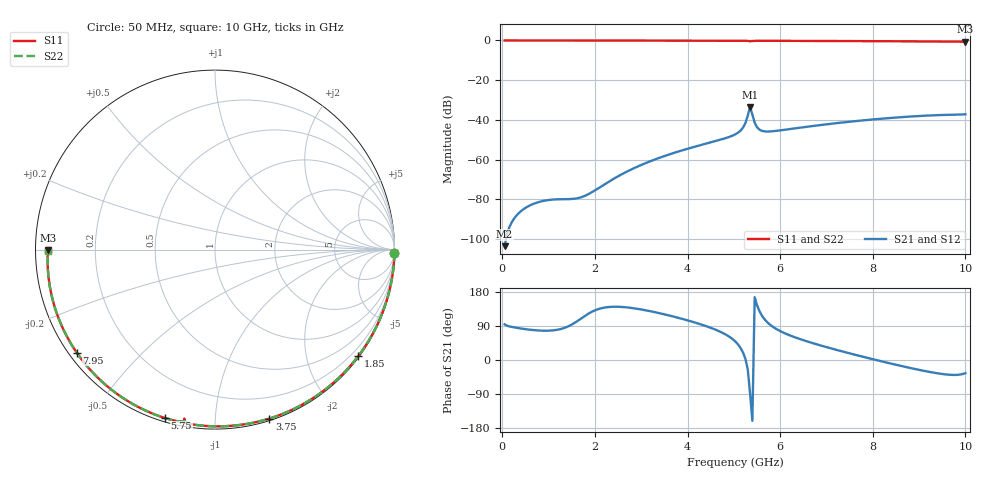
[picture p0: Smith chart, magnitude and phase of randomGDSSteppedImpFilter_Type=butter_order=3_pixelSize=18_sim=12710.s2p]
! freq	dB(S11)	phase(S11)	dB(S12)	phase(S12)
!  dB(S21)	phase(S21)	dB(S22)	phase(S22)
!S-par simulation data
#  GHz  S  DB  R 50
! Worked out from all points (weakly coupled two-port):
!   200 points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, 50 MHz to 10 GHz, reference 50 ohm
!   highest |S21| = -33.55 dB at 5.35 GHz (marker M1); lowest = -103.5 dB at 50 MHz (marker M2)
!   lowest |S11| = -0.6 dB at 10 GHz (marker M3), VSWR 27.58, Z = 1.81 - j0.0735 ohm
!   |S11| at or under -10 dB: nowhere
!   |S22| runs from -0.6 to 0.0 dB; largest |S21 - S12| = 0
!   S11 on the Smith chart (normalised r, x): 50 MHz: open; 1.85 GHz: 0.03, -3.02; 3.75 GHz: 0.02, -1.37; 5.75 GHz: 0.02, -0.75; 7.95 GHz: 0.02, -0.33; 10 GHz: 0.04, -0.00
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0.05  -0.00 -1.0  -103.54 94.1  -103.54 94.1  -0.00 -1.0
0.75  -0.02 -15.1  -81.59 78.1  -81.59 78.1  -0.02 -15.1
1.45  -0.04 -28.9  -79.84 90.3  -79.84 90.3  -0.04 -28.9
1.75  -0.04 -34.7  -78.53 113.5  -78.53 113.5  -0.04 -34.7
1.85  -0.05 -36.6  -77.48 121.5  -77.48 121.5  -0.05 -36.6
2.65  -0.07 -51.9  -66.49 139.3  -66.49 139.3  -0.07 -51.9
3.4  -0.09 -65.8  -59.01 123.4  -59.01 123.4  -0.09 -65.8
3.75  -0.10 -72.1  -56.27 112.9  -56.27 112.9  -0.10 -72.1
4.8  -0.14 -90.7  -49.33 68.9  -49.33 68.9  -0.14 -90.7
5.05  -0.15 -95.1  -47.00 46.6  -47.00 46.6  -0.15 -95.1
5.15  -0.16 -96.9  -45.24 30.8  -45.24 30.8  -0.16 -96.9
5.25  -0.18 -98.8  -41.59 2.9  -41.59 2.9  -0.18 -98.8
5.35  -0.38 -100.3  -33.55 -87.6  -33.55 -87.6  -0.38 -100.3
5.45  -0.20 -101.2  -41.38 165.6  -41.38 165.6  -0.20 -101.2
5.5  -0.19 -102.2  -43.64 144.8  -43.64 144.8  -0.19 -102.2
5.6  -0.18 -104.0  -45.43 118.4  -45.43 118.4  -0.18 -104.0
5.75  -0.19 -106.6  -45.83 96.4  -45.83 96.4  -0.18 -106.6
6.7  -0.24 -122.5  -43.07 44.6  -43.07 44.6  -0.24 -122.5
7.95  -0.35 -143.3  -39.87 3.6  -39.87 3.6  -0.35 -143.2
8.35  -0.39 -150.1  -39.07 -8.2  -39.07 -8.2  -0.39 -150.0
9.2  -0.49 -164.9  -37.78 -30.9  -37.78 -30.9  -0.49 -164.8
10  -0.63 -179.8  -37.15 -34.6  -37.15 -34.6  -0.63 -179.7
